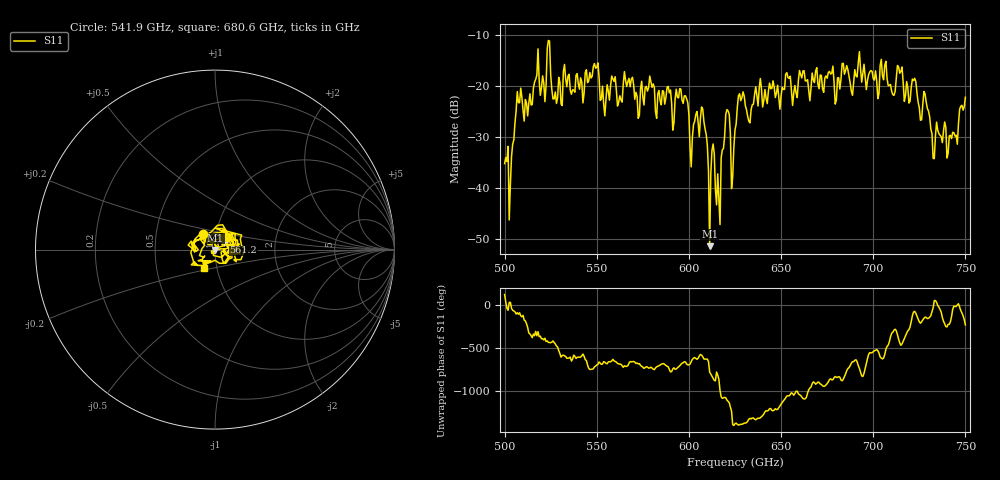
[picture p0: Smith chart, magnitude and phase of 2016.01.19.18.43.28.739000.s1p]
!Created with skrf (http://scikit-rf.org).
# GHz S RI R 50.0
!freq ReS11 ImS11
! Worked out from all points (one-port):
!   401 points, 500 GHz to 750 GHz, reference 50 ohm
!   lowest |S11| = -51.3 dB at 611.2 GHz (marker M1), VSWR 1.01, Z = 50.1 - j0.233 ohm
!   |S11| at or under -10 dB: start of sweep to end of sweep
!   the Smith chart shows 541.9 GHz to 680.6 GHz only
!   S11 on the Smith chart (normalised r, x): 541.9 GHz: 0.86, +0.15; 561.2 GHz: 1.10, +0.09; 680.6 GHz: 0.87, -0.18
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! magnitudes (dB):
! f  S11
! 500 GHz  -35.2
! 503.8 GHz  -33.8
! 507.5 GHz  -23.2
! 517.5 GHz  -17.8
! 531.2 GHz  -23.8
! 541.9 GHz  -19.2
! 549.4 GHz  -16.5
! 553.1 GHz  -20.0
! 561.2 GHz  -23.9
! 562.5 GHz  -21.9
! 593.8 GHz  -22.2
! 601.9 GHz  -30.0
! 607.5 GHz  -24.5
! 611.2 GHz  -51.3
! 613.1 GHz  -31.3
! 615.6 GHz  -37.2
! 620.6 GHz  -24.6
! 623.8 GHz  -37.8
! 625 GHz  -28.6
! 628.1 GHz  -22.9
! 656.2 GHz  -23.8
! 680.6 GHz  -18.4
! 687.5 GHz  -19.4
! 714.4 GHz  -17.5
! 718.8 GHz  -20.3
! 728.8 GHz  -23.2
! 732.5 GHz  -34.2
! 750 GHz  -22.2
